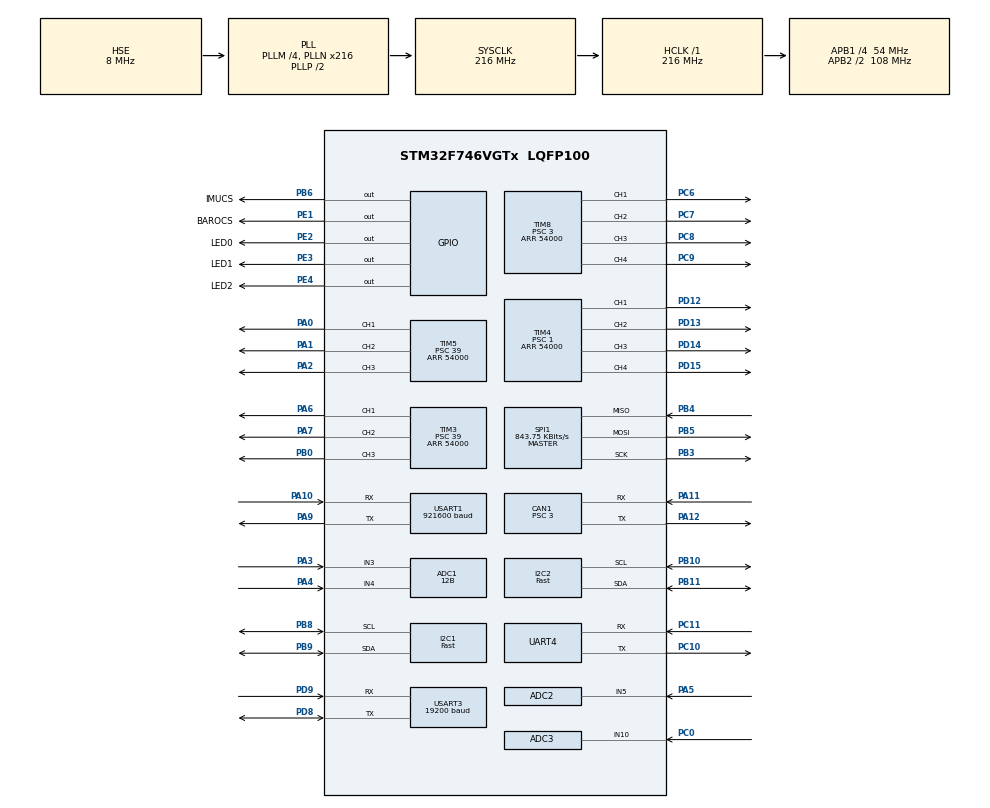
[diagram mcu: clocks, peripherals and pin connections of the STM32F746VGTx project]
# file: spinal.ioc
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ADC1.Channel-0\#ChannelRegularConversion=ADC_CHANNEL_4
ADC1.ClockPrescaler=ADC_CLOCK_SYNC_PCLK_DIV4
ADC1.ContinuousConvMode=DISABLE
ADC1.DMAContinuousRequests=DISABLE
ADC1.DataAlign=ADC_DATAALIGN_RIGHT
ADC1.DiscontinuousConvMode=DISABLE
ADC1.EOCSelection=ADC_EOC_SINGLE_CONV
ADC1.EnableAnalogWatchDog=false
ADC1.ExternalTrigConvEdge=ADC_EXTERNALTRIGCONVEDGE_NONE
ADC1.InjNumberOfConversion=0
ADC1.NbrOfConversion=1
ADC1.NbrOfConversionFlag=1
ADC1.Rank-0\#ChannelRegularConversion=1
ADC1.Resolution=ADC_RESOLUTION_12B
ADC1.SamplingTime-0\#ChannelRegularConversion=ADC_SAMPLETIME_3CYCLES
ADC1.ScanConvMode=ADC_SCAN_DISABLE
ADC1.master=1
ADC2.Channel-2\#ChannelRegularConversion=ADC_CHANNEL_5
ADC2.ContinuousConvMode=DISABLE
ADC2.DMAContinuousRequests=DISABLE
ADC2.DataAlign=ADC_DATAALIGN_RIGHT
ADC2.DiscontinuousConvMode=DISABLE
ADC2.EOCSelection=ADC_EOC_SINGLE_CONV
ADC2.EnableAnalogWatchDog=false
ADC2.ExternalTrigConvEdge=ADC_EXTERNALTRIGCONVEDGE_NONE
ADC2.InjNumberOfConversion=0
ADC2.NbrOfConversion=1
ADC2.NbrOfConversionFlag=1
ADC2.Rank-2\#ChannelRegularConversion=1
ADC2.Resolution=ADC_RESOLUTION_12B
ADC2.SamplingTime-2\#ChannelRegularConversion=ADC_SAMPLETIME_84CYCLES
ADC2.ScanConvMode=ADC_SCAN_DISABLE
ADC3.Channel-0\#ChannelRegularConversion=ADC_CHANNEL_10
ADC3.NbrOfConversionFlag=1
ADC3.Rank-0\#ChannelRegularConversion=1
ADC3.SamplingTime-0\#ChannelRegularConversion=ADC_SAMPLETIME_3CYCLES
CAN1.BS1=CAN_BS1_14TQ
CAN1.BS2=CAN_BS2_3TQ
CAN1.CalculateBaudRate=1000000
CAN1.CalculateTimeBit=1000
CAN1.CalculateTimeQuantum=55.55555555555556
CAN1.NART=ENABLE
CAN1.Prescaler=3
CAN1.SJW=CAN_SJW_1TQ
CORTEX_M7.ART_ACCLERATOR_ENABLE=1
CORTEX_M7.CPU_DCache=Enabled
CORTEX_M7.CPU_ICache=Enabled
CORTEX_M7.FlashInterface=TCM_Enabled
CORTEX_M7.PREFETCH_ENABLE=1
Dma.Request0=USART1_RX
Dma.Request1=USART1_TX
Dma.Request2=USART3_RX
Dma.USART1_RX.0.Direction=DMA_PERIPH_TO_MEMORY
Dma.USART1_RX.0.FIFOMode=DMA_FIFOMODE_DISABLE
Dma.USART1_RX.0.Instance=DMA2_Stream2
Dma.USART1_RX.0.MemDataAlignment=DMA_MDATAALIGN_BYTE
Dma.USART1_RX.0.MemInc=DMA_MINC_ENABLE
Dma.USART1_RX.0.Mode=DMA_CIRCULAR
Dma.USART1_RX.0.PeriphDataAlignment=DMA_PDATAALIGN_BYTE
Dma.USART1_RX.0.PeriphInc=DMA_PINC_DISABLE
Dma.USART1_RX.0.Priority=DMA_PRIORITY_VERY_HIGH
Dma.USART1_TX.1.Direction=DMA_MEMORY_TO_PERIPH
Dma.USART1_TX.1.FIFOMode=DMA_FIFOMODE_DISABLE
Dma.USART1_TX.1.Instance=DMA2_Stream7
Dma.USART1_TX.1.MemDataAlignment=DMA_MDATAALIGN_BYTE
Dma.USART1_TX.1.MemInc=DMA_MINC_ENABLE
Dma.USART1_TX.1.Mode=DMA_NORMAL
Dma.USART1_TX.1.PeriphDataAlignment=DMA_PDATAALIGN_BYTE
Dma.USART1_TX.1.PeriphInc=DMA_PINC_DISABLE
Dma.USART1_TX.1.Priority=DMA_PRIORITY_VERY_HIGH
Dma.USART3_RX.2.Direction=DMA_PERIPH_TO_MEMORY
Dma.USART3_RX.2.FIFOMode=DMA_FIFOMODE_DISABLE
Dma.USART3_RX.2.Instance=DMA1_Stream1
Dma.USART3_RX.2.MemDataAlignment=DMA_MDATAALIGN_BYTE
Dma.USART3_RX.2.MemInc=DMA_MINC_ENABLE
Dma.USART3_RX.2.Mode=DMA_CIRCULAR
Dma.USART3_RX.2.PeriphDataAlignment=DMA_PDATAALIGN_BYTE
Dma.USART3_RX.2.PeriphInc=DMA_PINC_DISABLE
Dma.USART3_RX.2.Priority=DMA_PRIORITY_VERY_HIGH
FREERTOS.BinarySemaphores01=CoreProcessSem,Dynamic,NULL;Uart1TxSem,Dynamic,NULL
FREERTOS.Mutexes01=rosPubMutex,Dynamic,NULL;flightControlMutex,Dynamic,NULL
FREERTOS.Tasks01=defaultTask,-3,128,StartDefaultTask,As weak,NULL,Dynamic,NULL,NULL;rosSpin,0,128,rosSpinTask,As weak,NULL,Dynamic,NULL,NULL;rosPublish,-1,128,rosPublishTask,As weak,NULL,Dynamic,NULL,NULL;coreProcess,3,256,coreTask,As weak,NULL,Dynamic,NULL,NULL;canRx,3,256,canRxTask,As weak,NULL,Dynamic,NULL,NULL;voltage,-2,128,voltageTask,As weak,NULL,Dynamic,NULL,NULL;servoTask,0,256,servoTaskCallback,As weak,NULL,Dynamic,NULL,NULL
FREERTOS.Timers01=CoreTimer,coreEvokeCallback,osTimerPeriodic,As weak,NULL,Dynamic,NULL
FREERTOS.configLIBRARY_MAX_SYSCALL_INTERRUPT_PRIORITY=5
FREERTOS.configTIMER_TASK_PRIORITY=6
FREERTOS.configTOTAL_HEAP_SIZE=20480
FREERTOS.configUSE_TIMERS=1
I2C1.I2C_Speed_Mode=I2C_Fast
I2C1.Speed=400
I2C1.Timing=0x6000030D
I2C2.I2C_Speed_Mode=I2C_Fast
I2C2.Speed=400
I2C2.Timing=0x6000030D
Mcu.Family=STM32F7
Mcu.Name=STM32F746VGTx
Mcu.Package=LQFP100
NVIC.CAN1_RX1_IRQn=true\:6\:0\:true\:true\:true\:1\:false\:true\:true
NVIC.DMA1_Stream1_IRQn=true\:5\:0\:false\:false\:true\:true\:true\:true
NVIC.DMA2_Stream7_IRQn=true\:6\:0\:true\:true\:true\:2\:false\:true\:true
NVIC.PriorityGroup=NVIC_PRIORITYGROUP_4
NVIC.TIM1_TRG_COM_TIM11_IRQn=true\:0\:0\:false\:false\:true\:false\:false\:true
NVIC.TimeBase=TIM1_TRG_COM_TIM11_IRQn
NVIC.TimeBaseIP=TIM11
NVIC.USART1_IRQn=true\:6\:0\:true\:true\:true\:3\:false\:true\:true
PA0/WKUP.Signal=S_TIM5_CH1
PA1.Signal=S_TIM5_CH2
PA10.Mode=Asynchronous
PA10.Signal=USART1_RX
PA11.Mode=CAN_Activate
PA11.Signal=CAN1_RX
PA12.Mode=CAN_Activate
PA12.Signal=CAN1_TX
PA13.Mode=Serial_Wire
PA13.Signal=SYS_JTMS-SWDIO
PA14.Mode=Serial_Wire
PA14.Signal=SYS_JTCK-SWCLK
PA2.Signal=S_TIM5_CH3
PA3.Signal=ADCx_IN3
PA4.Signal=ADCx_IN4
PA5.Signal=ADCx_IN5
PA6.Signal=S_TIM3_CH1
PA7.Signal=S_TIM3_CH2
PA9.Mode=Asynchronous
PA9.Signal=USART1_TX
PB0.Signal=S_TIM3_CH3
PB10.GPIO_Pu=GPIO_PULLUP
PB10.Mode=I2C
PB10.Signal=I2C2_SCL
PB11.GPIO_Pu=GPIO_PULLUP
PB11.Mode=I2C
PB11.Signal=I2C2_SDA
PB3.Mode=Full_Duplex_Master
PB3.Signal=SPI1_SCK
PB4.Mode=Full_Duplex_Master
PB4.Signal=SPI1_MISO
PB5.Mode=Full_Duplex_Master
PB5.Signal=SPI1_MOSI
PB6.GPIO_Label=IMUCS
PB6.GPIO_PuPd=GPIO_PULLUP
PB6.GPIO_Speed=GPIO_SPEED_FREQ_HIGH
PB6.Signal=GPIO_Output
PB8.GPIO_Pu=GPIO_PULLUP
PB8.Mode=I2C
PB8.Signal=I2C1_SCL
PB9.GPIO_Pu=GPIO_PULLUP
PB9.Mode=I2C
PB9.Signal=I2C1_SDA
PC0.Signal=ADCx_IN10
PC10.Mode=Asynchronous
PC10.Signal=UART4_TX
PC11.Mode=Asynchronous
PC11.Signal=UART4_RX
PC6.Signal=S_TIM8_CH1
PC7.Signal=S_TIM8_CH2
PC8.Signal=S_TIM8_CH3
PC9.Signal=S_TIM8_CH4
PD12.Signal=S_TIM4_CH1
PD13.Signal=S_TIM4_CH2
PD14.Signal=S_TIM4_CH3
PD15.Signal=S_TIM4_CH4
PD8.GPIO_Speed=GPIO_SPEED_FREQ_HIGH
PD8.Mode=Half_duplex(single_wire_mode)
PD8.Signal=USART3_TX
PD9.GPIO_Speed=GPIO_SPEED_FREQ_HIGH
PD9.Mode=Asynchronous
PD9.Signal=USART3_RX
PE1.GPIO_Label=BAROCS
PE1.GPIO_PuPd=GPIO_PULLDOWN
PE1.Signal=GPIO_Output
PE2.GPIO_Label=LED0
PE2.GPIO_ModeDefaultOutputPP=GPIO_MODE_OUTPUT_OD
PE2.GPIO_Speed=GPIO_SPEED_FREQ_MEDIUM
PE2.Signal=GPIO_Output
PE3.GPIO_Label=LED1
PE3.GPIO_ModeDefaultOutputPP=GPIO_MODE_OUTPUT_OD
PE3.GPIO_Speed=GPIO_SPEED_FREQ_MEDIUM
PE3.Signal=GPIO_Output
PE4.GPIO_Label=LED2
PE4.GPIO_ModeDefaultOutputPP=GPIO_MODE_OUTPUT_OD
PE4.GPIO_Speed=GPIO_SPEED_FREQ_MEDIUM
PE4.Signal=GPIO_Output
PH0/OSC_IN.Mode=HSE-External-Oscillator
PH0/OSC_IN.Signal=RCC_OSC_IN
PH1/OSC_OUT.Mode=HSE-External-Oscillator
PH1/OSC_OUT.Signal=RCC_OSC_OUT
ProjectManager.HeapSize=0x400
ProjectManager.StackSize=0x200
ProjectManager.TargetToolchain=STM32CubeIDE
RCC.AHBFreq_Value=216000000
RCC.APB1CLKDivider=RCC_HCLK_DIV4
RCC.APB1Freq_Value=54000000
RCC.APB1TimFreq_Value=108000000
RCC.APB2CLKDivider=RCC_HCLK_DIV2
RCC.APB2Freq_Value=108000000
RCC.APB2TimFreq_Value=216000000
RCC.CortexFreq_Value=216000000
RCC.HCLKFreq_Value=216000000
RCC.HSE_VALUE=8000000
RCC.HSI_VALUE=16000000
RCC.LSE_VALUE=32768
RCC.PLLM=4
RCC.PLLN=216
RCC.PLLSourceVirtual=RCC_PLLSOURCE_HSE
RCC.SYSCLKFreq_VALUE=216000000
RCC.SYSCLKSource=RCC_SYSCLKSOURCE_PLLCLK
RCC.USART1CLockSelection=RCC_USART1CLKSOURCE_SYSCLK
RCC.USART3CLockSelection=RCC_USART3CLKSOURCE_SYSCLK
RCC.USBFreq_Value=216000000
RCC.VCOOutputFreq_Value=432000000
SH.ADCx_IN10.0=ADC3_IN10,IN10
SH.ADCx_IN3.0=ADC1_IN3,IN3
SH.ADCx_IN4.0=ADC1_IN4,IN4
SH.ADCx_IN5.0=ADC2_IN5,IN5
SH.S_TIM3_CH1.0=TIM3_CH1,PWM Generation1 CH1
SH.S_TIM3_CH2.0=TIM3_CH2,PWM Generation2 CH2
SH.S_TIM3_CH3.0=TIM3_CH3,PWM Generation3 CH3
SH.S_TIM4_CH1.0=TIM4_CH1,PWM Generation1 CH1
SH.S_TIM4_CH2.0=TIM4_CH2,PWM Generation2 CH2
SH.S_TIM4_CH3.0=TIM4_CH3,PWM Generation3 CH3
SH.S_TIM4_CH4.0=TIM4_CH4,PWM Generation4 CH4
SH.S_TIM5_CH1.0=TIM5_CH1,PWM Generation1 CH1
SH.S_TIM5_CH2.0=TIM5_CH2,PWM Generation2 CH2
SH.S_TIM5_CH3.0=TIM5_CH3,PWM Generation3 CH3
SH.S_TIM8_CH1.0=TIM8_CH1,PWM Generation1 CH1
SH.S_TIM8_CH2.0=TIM8_CH2,PWM Generation2 CH2
SH.S_TIM8_CH3.0=TIM8_CH3,PWM Generation3 CH3
SH.S_TIM8_CH4.0=TIM8_CH4,PWM Generation4 CH4
SPI1.BaudRatePrescaler=SPI_BAUDRATEPRESCALER_128
SPI1.CalculateBaudRate=843.75 KBits/s
SPI1.DataSize=SPI_DATASIZE_8BIT
SPI1.Direction=SPI_DIRECTION_2LINES
SPI1.Mode=SPI_MODE_MASTER
SPI1.VirtualType=VM_MASTER
TIM2.Period=40000
TIM2.Prescaler=53
TIM3.Channel-PWM\ Generation1\ CH1=TIM_CHANNEL_1
TIM3.Channel-PWM\ Generation2\ CH2=TIM_CHANNEL_2
TIM3.Channel-PWM\ Generation3\ CH3=TIM_CHANNEL_3
TIM3.Period=54000
TIM3.Prescaler=39
TIM3.Pulse-PWM\ Generation1\ CH1=5400
TIM3.Pulse-PWM\ Generation2\ CH2=5400
TIM3.Pulse-PWM\ Generation3\ CH3=5400
TIM4.Channel-PWM\ Generation1\ CH1=TIM_CHANNEL_1
TIM4.Channel-PWM\ Generation2\ CH2=TIM_CHANNEL_2
TIM4.Channel-PWM\ Generation3\ CH3=TIM_CHANNEL_3
TIM4.Channel-PWM\ Generation4\ CH4=TIM_CHANNEL_4
TIM4.CounterMode=TIM_COUNTERMODE_CENTERALIGNED1
TIM4.OCMode_PWM-PWM\ Generation1\ CH1=TIM_OCMODE_PWM1
TIM4.Period=54000
TIM4.Prescaler=1
TIM4.Pulse-PWM\ Generation1\ CH1=10000
TIM4.Pulse-PWM\ Generation2\ CH2=20000
TIM5.Channel-PWM\ Generation1\ CH1=TIM_CHANNEL_1
TIM5.Channel-PWM\ Generation2\ CH2=TIM_CHANNEL_2
TIM5.Channel-PWM\ Generation3\ CH3=TIM_CHANNEL_3
TIM5.Period=54000
TIM5.Prescaler=39
TIM8.Channel-PWM\ Generation1\ CH1=TIM_CHANNEL_1
TIM8.Channel-PWM\ Generation2\ CH2=TIM_CHANNEL_2
TIM8.Channel-PWM\ Generation3\ CH3=TIM_CHANNEL_3
TIM8.Channel-PWM\ Generation4\ CH4=TIM_CHANNEL_4
TIM8.CounterMode=TIM_COUNTERMODE_CENTERALIGNED1
TIM8.Period=54000
TIM8.Prescaler=3
TIM8.Pulse-PWM\ Generation1\ CH1=10000
TIM8.Pulse-PWM\ Generation2\ CH2=10000
USART1.BaudRate=921600
USART1.VirtualMode=VM_ASYNC
USART1.VirtualMode-Asynchronous=VM_ASYNC
USART1.WordLength=WORDLENGTH_8B
USART3.BaudRate=19200
USART3.Parity=PARITY_NONE
USART3.VirtualMode-Asynchronous=VM_ASYNC
USART3.WordLength=WORDLENGTH_8B
VP_FREERTOS_VS_CMSIS_V1.Mode=CMSIS_V1
VP_SYS_VS_tim11.Mode=TIM11
VP_TIM2_VS_ClockSourceINT.Mode=Internal
VP_TIM3_VS_ClockSourceINT.Mode=Internal
VP_TIM4_VS_ClockSourceINT.Mode=Internal
VP_TIM8_VS_ClockSourceINT.Mode=Internal
board=spinal

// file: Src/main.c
/* USER CODE BEGIN Header */
/**
  ******************************************************************************
  * @file           : main.c
  * @brief          : Main program body
  ******************************************************************************
  * @attention
  *
  * <h2><center>&copy; Copyright (c) 2021 STMicroelectronics.
  * All rights reserved.</center></h2>
  *
  * This software component is licensed by ST under BSD 3-Clause license,
  * the "License"; You may not use this file except in compliance with the
  * License. You may obtain a copy of the License at:
  *                        opensource.org/licenses/BSD-3-Clause
  *
  ******************************************************************************
  */
/* USER CODE END Header */
#include "main.h"
#include "cmsis_os.h"
#include "adc.h"
#include "can.h"
#include "dma.h"
#include "i2c.h"
#include "spi.h"
#include "tim.h"
#include "usart.h"
#include "gpio.h"

/* USER CODE BEGIN Includes */
/* common setting for this board */
#include "config.h"

/* ros communication interface between board and PC */
#include <ros.h>

#include "flashmemory/flashmemory.h"

/* Sensors */
#if IMU_FLAG
#include "sensors/imu/imu_ros_cmd.h"
#include "sensors/imu/drivers/mpu9250/imu_mpu9250.h"
#include "sensors/imu/drivers/icm20948/icm_20948.h"
#endif

#if BARO_FLAG
#include "sensors/baro/baro_ms5611.h"
#endif

#if GPS_FLAG
#include "sensors/gps/gps_ublox.h"
#endif

#include "sensors/encoder/mag_encoder.h"

/* State Estimate, including attitude, altitude and pos */
#if ATTITUDE_ESTIMATE_FLAG || HEIGHT_ESTIMATE_FLAG || POS_ESTIMATE_FLAG
#include "state_estimate/state_estimate.h"
#endif

/* State Estimate, including attitude, altitude and pos */
#if FLIGHT_CONTROL_FLAG
#include "flight_control/flight_control.h"
#endif

/* Battery Status */
#include "battery_status/battery_status.h"

/* Extra Servo */
#include "extra_servo/extra_servo.h"

#include "device_manager/servo_manager.h"

/* Internal Communication System */
#include <Spine/spine.h>

/* USER CODE END Includes */

/* USER CODE BEGIN PV */
bool start_processing_flag_ = false; //to prevent systick_callback starting  beforeinit() processes

ros::NodeHandle nh_;

#if IMU_MPU
IMUOnboard imu_;
#elif IMU_ICM
ICM20948 imu_;
#endif

#if BARO_FLAG
Baro baro_;
#endif

#if GPS_FLAG
GPS gps_;
#endif

MagEncoder encoder_;

#if ATTITUDE_ESTIMATE_FLAG || HEIGHT_ESTIMATE_FLAG || POS_ESTIMATE_FLAG
StateEstimate estimator_;
#endif

#if FLIGHT_CONTROL_FLAG
BatteryStatus battery_status_;
FlightControl controller_;
ExtraServo extra_servo_;
ServoManager servo_manager_;

#endif

// defined in Src/freertos.c
extern osSemaphoreId CoreProcessSemHandle;
extern osSemaphoreId Uart1TxSemHandle;
extern osMailQId canMsgMailHandle;
extern osMutexId rosPubMutexHandle;
extern osMutexId flightControlMutexHandle;

extern "C"
{
/* USER CODE END PV */

void SystemClock_Config(void);
void MX_FREERTOS_Init(void);
static void MX_NVIC_Init(void);
/* USER CODE BEGIN PFP */

  // timer callback to evoke coreTask at 1KHz
  void coreEvokeCallback(void const * argument)
  {
    if(FlashMemory::isLock()) return; // avoid overflow of ros publish buffer in rosserial UART mode
    /*
      We need to create another indipendent task to run the core function (following coreTask),
      since block action in timer callback function is not allowed.
    */
    osSemaphoreRelease (CoreProcessSemHandle);
  }

  // main subrutine for update enach instance
  void coreTask(void const * argument)
  {
    imu_.gyroCalib(true, IMU::GYRO_DEFAULT_CALIB_DURATION); // re-calibrate gyroscope because of the HAL_Delay in spine init

    for(;;)
      {
        // RTOS semephre
        osSemaphoreWait(CoreProcessSemHandle, osWaitForever);

        if(!start_processing_flag_) return;

        Spine::send();

        /* sensors */
#if IMU_FLAG
        imu_.update();
#endif

#if BARO_FLAG
        baro_.update();
#endif

#if GPS_FLAG
        gps_.update();
#endif

        encoder_.update();

        /* state estimate */
#if (ATTITUDE_ESTIMATE_FLAG || HEIGHT_ESTIMATE_FLAG || POS_ESTIMATE_FLAG)
        estimator_.update();
#endif

#if FLIGHT_CONTROL_FLAG
        controller_.update();
#endif

        Spine::update();

        servo_manager_.update();
      }
  }

  void rosSpinTask(void const * argument)
  {
    for(;;)
      {
        /* ros spin means to get data from UART RX ring buffer and to call callback functions  */
        if(nh_.spinOnce() == ros::SPIN_UNAVAILABLE)
          {
            /* if no data in ring buffer, we kindly sleep for 1ms */
            osDelay(1);
          }
      }
  }

  /*
   * We set a lower priority for publish task than rosSpinTask
   * Since,  UART_Transmit needs a timeout to wait for the flag of UART TX to be ready (about 2 ms for about 100bytes)
   * - HAL_UART_Transmit(tx_huart_, tx_buffer_unit_[subscript_in_progress_].tx_data_, tx_buffer_unit_[subscript_in_progress_].tx_len_, 2);
   * TODO: use DMA to send UART TX
   */
  void rosPublishTask(void const * argument)
  {
    for(;;)
      {
        /* publish one message from ring buffer */
        if(nh_.publish() == BUFFER_EMPTY)
          {
            /* if no messages in ring buffer, we kindly sleep for 1ms */
            osDelay(1);
          }
      }
  }

#if 0
  void StartDefaultTask(void const * argument)
  {
    for(;;)
      {
        osDelay(1000);
        LED2_H;
        osDelay(1000);
        LED2_L;
      }
  }
#endif

#if FLIGHT_CONTROL_FLAG
  void voltageTask(void const * argument)
  {
    for(;;)
      {
        battery_status_.update();
        osDelay(VOLTAGE_CHECK_INTERVAL);
      }
  }
#endif

}

/* USER CODE END PFP */

int main(void)
{

  /* Enable I-Cache---------------------------------------------------------*/
  SCB_EnableICache();

  /* Enable D-Cache---------------------------------------------------------*/
  SCB_EnableDCache();

  /* MCU Configuration--------------------------------------------------------*/

  /* Reset of all peripherals, Initializes the Flash interface and the Systick. */
  HAL_Init();

  /* Configure the system clock */
  SystemClock_Config();

  /* Initialize all configured peripherals */
  MX_GPIO_Init();
  MX_DMA_Init();
  MX_ADC1_Init();
  MX_ADC2_Init();
  MX_ADC3_Init();
  MX_CAN1_Init();
  MX_I2C1_Init();
  MX_SPI1_Init();
  MX_TIM4_Init();
  MX_TIM8_Init();
  MX_USART1_UART_Init();
  MX_USART3_UART_Init();
  MX_I2C2_Init();
  MX_UART4_Init();
  MX_TIM2_Init();
  MX_TIM3_Init();
  MX_TIM5_Init();

  /* Initialize interrupts */
  MX_NVIC_Init();
  /* USER CODE BEGIN 2 */
  /* ROS Interface between board and PC */
  nh_.initNode(&huart1, &rosPubMutexHandle, &Uart1TxSemHandle);

  /* Flash Memory */
  FlashMemory::init(0x08080000, FLASH_SECTOR_6);
  // Sector6: 0x0808 0000 (256KB); https://www.stmcu.jp/download/?dlid=51585_jp

  /* Sensors */
#if IMU_FLAG
  /* we need to put IMU second, because of the unknown reason abou the ublox m8n compass/gps disconnect problem */
  imu_.init(&hspi1, &hi2c2, &nh_, IMUCS_GPIO_Port, IMUCS_Pin, LED0_GPIO_Port, LED0_Pin);
  IMU_ROS_CMD::init(&nh_);
  IMU_ROS_CMD::addImu(&imu_);
#endif

#if BARO_FLAG
  baro_.init(&hi2c1, &nh_, BAROCS_GPIO_Port, BAROCS_Pin);
#endif

  /* State Estimation */
#if ATTITUDE_ESTIMATE_FLAG //imu condition

#if HEIGHT_ESTIMATE_FLAG // baro condition

#if POS_ESTIMATE_FLAG // gps condition
  estimator_.init(&imu_, &baro_, &gps_, &nh_);  // imu + baro + gps => att + alt + pos(xy)
#else  //gps condition
  estimator_.init(&imu_, &baro_, NULL, &nh_);  // imu + baro  => att + alt
#endif // gps condition

#else // baro condition
  estimator_.init(&imu_, NULL, NULL, &nh_);  // imu  => att
#endif  // baro condition

#endif // imu condition

  /* Extra Servo Control */
  extra_servo_.init(&htim3, &htim5, &nh_);

  /* Magnetic Encoder */
  encoder_.init(&hi2c2, &nh_);

  /* NERVE */
  bool nerve_connect = Spine::init(&hcan1, &nh_, &estimator_, &controller_, LED1_GPIO_Port, LED1_Pin);
  if(nerve_connect)
    {
      Spine::useRTOS(&canMsgMailHandle); // use RTOS for CAN in spianl
      servo_manager_.addSpineServo();
    }
  servo_manager_.init(&nh_); // inintialize after the addition of all servo handlers to count the servo number correctly

#if FLIGHT_CONTROL_FLAG
  /* BATTERY_STATUS */
  battery_status_.init(&hadc2, &nh_);
  /* Start Attitude Control */
  controller_.init(&htim4, &htim8, &estimator_, &battery_status_, &nh_, &flightControlMutexHandle);

#if GPS_FLAG
  gps_.init(&huart3, &nh_, LED2_GPIO_Port, LED2_Pin);
#endif

#endif

  FlashMemory::read(); //IMU calib data (including IMU in neurons)

  start_processing_flag_ = true;
  uint32_t now_time = HAL_GetTick();

  /* USER CODE END 2 */

  /* Call init function for freertos objects (in freertos.c) */
  MX_FREERTOS_Init();
  /* Start scheduler */
  osKernelStart();

  /* We should never get here as control is now taken by the scheduler */
  /* Infinite loop */
  while (1)
  {

  }
}

void SystemClock_Config(void)
{
  RCC_OscInitTypeDef RCC_OscInitStruct = {0};
  RCC_ClkInitTypeDef RCC_ClkInitStruct = {0};

  /** Configure the main internal regulator output voltage
  */
  __HAL_RCC_PWR_CLK_ENABLE();
  __HAL_PWR_VOLTAGESCALING_CONFIG(PWR_REGULATOR_VOLTAGE_SCALE1);
  /** Initializes the RCC Oscillators according to the specified parameters
  * in the RCC_OscInitTypeDef structure.
  */
  RCC_OscInitStruct.OscillatorType = RCC_OSCILLATORTYPE_HSE;
  RCC_OscInitStruct.HSEState = RCC_HSE_ON;
  RCC_OscInitStruct.PLL.PLLState = RCC_PLL_ON;
  RCC_OscInitStruct.PLL.PLLSource = RCC_PLLSOURCE_HSE;
  RCC_OscInitStruct.PLL.PLLM = 4;
  RCC_OscInitStruct.PLL.PLLN = 216;
  RCC_OscInitStruct.PLL.PLLP = RCC_PLLP_DIV2;
  RCC_OscInitStruct.PLL.PLLQ = 2;
  if (HAL_RCC_OscConfig(&RCC_OscInitStruct) != HAL_OK)
  {
    Error_Handler();
  }
  /** Activate the Over-Drive mode
  */
  if (HAL_PWREx_EnableOverDrive() != HAL_OK)
  {
    Error_Handler();
  }
  /** Initializes the CPU, AHB and APB buses clocks
  */
  RCC_ClkInitStruct.ClockType = RCC_CLOCKTYPE_HCLK|RCC_CLOCKTYPE_SYSCLK
                              |RCC_CLOCKTYPE_PCLK1|RCC_CLOCKTYPE_PCLK2;
  RCC_ClkInitStruct.SYSCLKSource = RCC_SYSCLKSOURCE_PLLCLK;
  RCC_ClkInitStruct.AHBCLKDivider = RCC_SYSCLK_DIV1;
  RCC_ClkInitStruct.APB1CLKDivider = RCC_HCLK_DIV4;
  RCC_ClkInitStruct.APB2CLKDivider = RCC_HCLK_DIV2;

  if (HAL_RCC_ClockConfig(&RCC_ClkInitStruct, FLASH_LATENCY_7) != HAL_OK)
  {
    Error_Handler();
  }
}

/**
  * @brief NVIC Configuration.
  * @retval None
  */
static void MX_NVIC_Init(void)
{
  /* CAN1_RX1_IRQn interrupt configuration */
  HAL_NVIC_SetPriority(CAN1_RX1_IRQn, 6, 0);
  HAL_NVIC_EnableIRQ(CAN1_RX1_IRQn);
  /* DMA2_Stream7_IRQn interrupt configuration */
  HAL_NVIC_SetPriority(DMA2_Stream7_IRQn, 6, 0);
  HAL_NVIC_EnableIRQ(DMA2_Stream7_IRQn);
  /* USART1_IRQn interrupt configuration */
  HAL_NVIC_SetPriority(USART1_IRQn, 6, 0);
  HAL_NVIC_EnableIRQ(USART1_IRQn);
}

void HAL_TIM_PeriodElapsedCallback(TIM_HandleTypeDef *htim)
{
  if (htim->Instance == TIM11) {
    HAL_IncTick();
  }
}

void Error_Handler(void)
{
}

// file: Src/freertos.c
/* USER CODE BEGIN Header */
/**
  ******************************************************************************
  * File Name          : freertos.c
  * Description        : Code for freertos applications
  ******************************************************************************
  * @attention
  *
  * <h2><center>&copy; Copyright (c) 2021 STMicroelectronics.
  * All rights reserved.</center></h2>
  *
  * This software component is licensed by ST under Ultimate Liberty license
  * SLA0044, the "License"; You may not use this file except in compliance with
  * the License. You may obtain a copy of the License at:
  *                             www.st.com/SLA0044
  *
  ******************************************************************************
  */
/* USER CODE END Header */

#include "FreeRTOS.h"
#include "task.h"
#include "main.h"
#include "cmsis_os.h"

/* USER CODE BEGIN Includes */
#include "config.h"
#include <stdbool.h>
/* USER CODE END Includes */

/* USER CODE BEGIN PTD */
typedef struct // same type defined in can_device_manager.h whcih has C++ description thus cannot loaded in this C file
{
  CAN_RxHeaderTypeDef rx_header;
  uint8_t rx_data[8];
} can_msg;

/* USER CODE END PTD */

/* USER CODE BEGIN Variables */
osMailQId canMsgMailHandle;
/* USER CODE END Variables */
osThreadId defaultTaskHandle;
osThreadId rosSpinHandle;
osThreadId rosPublishHandle;
osThreadId coreProcessHandle;
osThreadId canRxHandle;
osThreadId voltageHandle;
osThreadId servoTaskHandle;
osTimerId CoreTimerHandle;
osMutexId rosPubMutexHandle;
osMutexId flightControlMutexHandle;
osSemaphoreId CoreProcessSemHandle;
osSemaphoreId Uart1TxSemHandle;

void StartDefaultTask(void const * argument);
void rosSpinTask(void const * argument);
void rosPublishTask(void const * argument);
void coreTask(void const * argument);
void canRxTask(void const * argument);
void voltageTask(void const * argument);
void servoTaskCallback(void const * argument);
void coreEvokeCallback(void const * argument);

void MX_FREERTOS_Init(void); /* (MISRA C 2004 rule 8.1) */

/* GetIdleTaskMemory prototype (linked to static allocation support) */
void vApplicationGetIdleTaskMemory( StaticTask_t **ppxIdleTaskTCBBuffer, StackType_t **ppxIdleTaskStackBuffer, uint32_t *pulIdleTaskStackSize );

/* GetTimerTaskMemory prototype (linked to static allocation support) */
void vApplicationGetTimerTaskMemory( StaticTask_t **ppxTimerTaskTCBBuffer, StackType_t **ppxTimerTaskStackBuffer, uint32_t *pulTimerTaskStackSize );

/* USER CODE BEGIN GET_IDLE_TASK_MEMORY */
static StaticTask_t xIdleTaskTCBBuffer;
static StackType_t xIdleStack[configMINIMAL_STACK_SIZE];

void vApplicationGetIdleTaskMemory( StaticTask_t **ppxIdleTaskTCBBuffer, StackType_t **ppxIdleTaskStackBuffer, uint32_t *pulIdleTaskStackSize )
{
  *ppxIdleTaskTCBBuffer = &xIdleTaskTCBBuffer;
  *ppxIdleTaskStackBuffer = &xIdleStack[0];
  *pulIdleTaskStackSize = configMINIMAL_STACK_SIZE;
  /* place for user code */
}
/* USER CODE END GET_IDLE_TASK_MEMORY */

/* USER CODE BEGIN GET_TIMER_TASK_MEMORY */
static StaticTask_t xTimerTaskTCBBuffer;
static StackType_t xTimerStack[configTIMER_TASK_STACK_DEPTH];

void vApplicationGetTimerTaskMemory( StaticTask_t **ppxTimerTaskTCBBuffer, StackType_t **ppxTimerTaskStackBuffer, uint32_t *pulTimerTaskStackSize )
{
  *ppxTimerTaskTCBBuffer = &xTimerTaskTCBBuffer;
  *ppxTimerTaskStackBuffer = &xTimerStack[0];
  *pulTimerTaskStackSize = configTIMER_TASK_STACK_DEPTH;
  /* place for user code */
}
/* USER CODE END GET_TIMER_TASK_MEMORY */

void MX_FREERTOS_Init(void) {
  /* Create the mutex(es) */
  /* definition and creation of rosPubMutex */
  osMutexDef(rosPubMutex);
  rosPubMutexHandle = osMutexCreate(osMutex(rosPubMutex));

  /* definition and creation of flightControlMutex */
  osMutexDef(flightControlMutex);
  flightControlMutexHandle = osMutexCreate(osMutex(flightControlMutex));

  /* Create the semaphores(s) */
  /* definition and creation of CoreProcessSem */
  osSemaphoreDef(CoreProcessSem);
  CoreProcessSemHandle = osSemaphoreCreate(osSemaphore(CoreProcessSem), 1);

  /* definition and creation of Uart1TxSem */
  osSemaphoreDef(Uart1TxSem);
  Uart1TxSemHandle = osSemaphoreCreate(osSemaphore(Uart1TxSem), 1);

  /* Create the timer(s) */
  /* definition and creation of CoreTimer */
  osTimerDef(CoreTimer, coreEvokeCallback);
  CoreTimerHandle = osTimerCreate(osTimer(CoreTimer), osTimerPeriodic, NULL);

  /* USER CODE BEGIN RTOS_TIMERS */
  /* start timers, add new ones, ... */
  osTimerStart(CoreTimerHandle, 1); // 1 ms (1kHz)
  /* USER CODE END RTOS_TIMERS */

  /* USER CODE BEGIN RTOS_QUEUES */
  /* add queues, ... */
  /* add mail queue for CAN RX */
  osMailQDef(CanMail, 20, can_msg); // defualt: 20 (in case of initializer sendBoardConfig (4 servo: 1 + 4 x 3 = 13 packets))
  canMsgMailHandle = osMailCreate(osMailQ(CanMail), NULL);
  /* USER CODE END RTOS_QUEUES */

  /* Create the thread(s) */
  /* definition and creation of defaultTask */
  osThreadDef(defaultTask, StartDefaultTask, osPriorityIdle, 0, 128);
  defaultTaskHandle = osThreadCreate(osThread(defaultTask), NULL);

  /* definition and creation of rosSpin */
  osThreadDef(rosSpin, rosSpinTask, osPriorityNormal, 0, 128);
  rosSpinHandle = osThreadCreate(osThread(rosSpin), NULL);

  /* definition and creation of rosPublish */
  osThreadDef(rosPublish, rosPublishTask, osPriorityBelowNormal, 0, 128);
  rosPublishHandle = osThreadCreate(osThread(rosPublish), NULL);

  /* definition and creation of coreProcess */
  osThreadDef(coreProcess, coreTask, osPriorityRealtime, 0, 256);
  coreProcessHandle = osThreadCreate(osThread(coreProcess), NULL);

  /* definition and creation of canRx */
  osThreadDef(canRx, canRxTask, osPriorityRealtime, 0, 256);
  canRxHandle = osThreadCreate(osThread(canRx), NULL);

  /* definition and creation of voltage */
  osThreadDef(voltage, voltageTask, osPriorityLow, 0, 128);
  voltageHandle = osThreadCreate(osThread(voltage), NULL);

  /* definition and creation of servoTask */
  osThreadDef(servoTask, servoTaskCallback, osPriorityNormal, 0, 256);
  servoTaskHandle = osThreadCreate(osThread(servoTask), NULL);

}

__weak void StartDefaultTask(void const * argument)
{
  for(;;)
  {
    osDelay(1);
  }
}

__weak void rosSpinTask(void const * argument)
{
  for(;;)
  {
    osDelay(1);
  }
}

__weak void rosPublishTask(void const * argument)
{
  for(;;)
  {
    osDelay(1);
  }
}

__weak void coreTask(void const * argument)
{
  for(;;)
  {
    osDelay(1);
  }
}

__weak void canRxTask(void const * argument)
{
  for(;;)
  {
    osDelay(1);
  }
}

__weak void voltageTask(void const * argument)
{
  /* USER CODE BEGIN voltageTask */
  /* Infinite loop */
  for(;;)
  {
    osDelay(1000);
  }
  /* USER CODE END voltageTask */
}

__weak void servoTaskCallback(void const * argument)
{
  for(;;)
  {
    osDelay(1);
  }
}

/* coreEvokeCallback function */
__weak void coreEvokeCallback(void const * argument)
{
}
